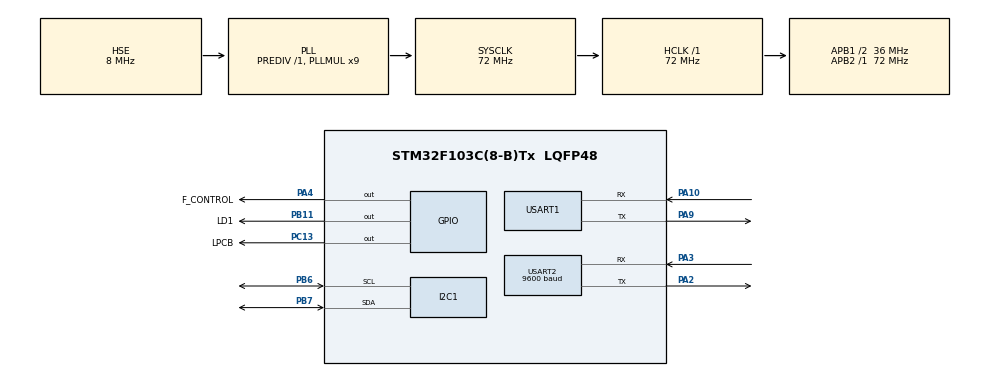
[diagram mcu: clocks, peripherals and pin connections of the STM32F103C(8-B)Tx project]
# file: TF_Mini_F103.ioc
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Mcu.Family=STM32F1
Mcu.Name=STM32F103C(8-B)Tx
Mcu.Package=LQFP48
NVIC.PriorityGroup=NVIC_PRIORITYGROUP_4
NVIC.TIM3_IRQn=true\:0\:0\:false\:false\:true\:true\:true\:true
NVIC.USART1_IRQn=true\:1\:0\:true\:false\:true\:true\:true\:true
NVIC.USART2_IRQn=true\:0\:0\:false\:false\:true\:true\:true\:true
PA10.Mode=Asynchronous
PA10.Signal=USART1_RX
PA13.Mode=Serial_Wire
PA13.Signal=SYS_JTMS-SWDIO
PA14.Mode=Serial_Wire
PA14.Signal=SYS_JTCK-SWCLK
PA2.Mode=Asynchronous
PA2.Signal=USART2_TX
PA3.Mode=Asynchronous
PA3.Signal=USART2_RX
PA4.GPIO_Label=F_CONTROL
PA4.Signal=GPIO_Output
PA9.Mode=Asynchronous
PA9.Signal=USART1_TX
PB11.GPIO_Label=LD1
PB11.GPIO_ModeDefaultOutputPP=GPIO_MODE_OUTPUT_OD
PB11.GPIO_PuPd=GPIO_NOPULL
PB11.GPIO_Speed=GPIO_SPEED_FREQ_HIGH
PB11.PinState=GPIO_PIN_RESET
PB11.Signal=GPIO_Output
PB6.Mode=I2C
PB6.Signal=I2C1_SCL
PB7.Mode=I2C
PB7.Signal=I2C1_SDA
PC13-TAMPER-RTC.GPIO_Label=LPCB
PC13-TAMPER-RTC.GPIO_ModeDefaultOutputPP=GPIO_MODE_OUTPUT_OD
PC13-TAMPER-RTC.GPIO_PuPd=GPIO_NOPULL
PC13-TAMPER-RTC.GPIO_Speed=GPIO_SPEED_FREQ_HIGH
PC13-TAMPER-RTC.Signal=GPIO_Output
PD0-OSC_IN.Mode=HSE-External-Oscillator
PD0-OSC_IN.Signal=RCC_OSC_IN
PD1-OSC_OUT.Mode=HSE-External-Oscillator
PD1-OSC_OUT.Signal=RCC_OSC_OUT
ProjectManager.HeapSize=0x200
ProjectManager.StackSize=0x400
ProjectManager.TargetToolchain=STM32CubeIDE
RCC.AHBFreq_Value=72000000
RCC.APB1CLKDivider=RCC_HCLK_DIV2
RCC.APB1Freq_Value=36000000
RCC.APB1TimFreq_Value=72000000
RCC.APB2Freq_Value=72000000
RCC.APB2TimFreq_Value=72000000
RCC.HCLKFreq_Value=72000000
RCC.PLLMUL=RCC_PLL_MUL9
RCC.PLLSourceVirtual=RCC_PLLSOURCE_HSE
RCC.SYSCLKFreq_VALUE=72000000
RCC.SYSCLKSource=RCC_SYSCLKSOURCE_PLLCLK
RCC.USBFreq_Value=72000000
TIM3.Period=249
TIM3.Prescaler=287
USART1.VirtualMode=VM_ASYNC
USART2.BaudRate=9600
USART2.VirtualMode=VM_ASYNC
VP_TIM3_VS_ClockSourceINT.Mode=Internal
board=custom

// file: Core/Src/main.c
/* USER CODE BEGIN Header */
/**
 ******************************************************************************
 * @file           : main.c
 * @brief          : Main program body
 ******************************************************************************
 * @attention
 *
 * Copyright (c) 2024 STMicroelectronics.
 * All rights reserved.
 *
 * This software is licensed under terms that can be found in the LICENSE file
 * in the root directory of this software component.
 * If no LICENSE file comes with this software, it is provided AS-IS.
 *
 ******************************************************************************
 */
/* USER CODE END Header */
#include "main.h"

I2C_HandleTypeDef hi2c1;

TIM_HandleTypeDef htim3;

UART_HandleTypeDef huart1;
UART_HandleTypeDef huart2;

/* USER CODE BEGIN PV */
char lidar_rx_buff[9] = {0};
char RS485_rx_buff[9] = {0};
char buff[] = "00.00 cm";
uint8_t cmd[] = {0x5A, 0x05, 0x07, 0x01, 0x67}; // Comando exemplo (substitua pelo comando correto)
uint8_t rcv_byte,
/*----*/rcv_byte1,
/*----*/flag_pacote_completo,
/*----*/flag_pacote_completo1,
/*----*/auxbuff1,
/*----*/init_rcv,
/*----*/auxbuff = 0;
uint16_t altura_sensor,
/*-----*/cont[8]= {0};
/* USER CODE END PV */

void SystemClock_Config(void);
static void MX_GPIO_Init(void);
static void MX_I2C1_Init(void);
static void MX_TIM3_Init(void);
static void MX_USART1_UART_Init(void);
static void MX_USART2_UART_Init(void);
/* USER CODE BEGIN PFP */
uint8_t leitura_buffer(void);
void trata_uart_tfmini(void);
void trata_string(void);
void transmite_tfmini(void);
void trata_uart_rs485(void);
/* USER CODE END PFP */

/* USER CODE BEGIN 0 */
void HAL_UART_RxCpltCallback(UART_HandleTypeDef *huart){
	if(huart->Instance == USART2) {	/*USART 2 RS485*/
		if(rcv_byte1 == '[')
			init_rcv = 1;
		if(init_rcv){
			RS485_rx_buff[auxbuff] = rcv_byte1;
			auxbuff++;
		}
		if(rcv_byte == ']'){
			flag_pacote_completo1 = 1;
			auxbuff = 0;
		}
		HAL_UART_Receive_IT(&huart2, (uint8_t*)&rcv_byte1, sizeof(rcv_byte1));	/*RECEBE UM BYTE*/
	}
	else if(huart->Instance == USART1) {	/*USART 1 SENSOR LIDAR TFMINI PLUS*/
		lidar_rx_buff[auxbuff] = rcv_byte;
		auxbuff++;
		if(auxbuff>=9){
			flag_pacote_completo = 1;
			auxbuff = 0;
		}
		else
			HAL_UART_Receive_IT(&huart1, (uint8_t*)&rcv_byte, sizeof(rcv_byte));	/*RECEBE UM BYTE*/
	}
}
void HAL_TIM_PeriodElapsedCallback (TIM_HandleTypeDef * htim){//ENDEREÇO DE HTIM COMO PARAMETRO
	if(htim->Instance == TIM3){ 	//IRA LER O MEMBRO DA ESTRUTURA APONTADO PELO PONTEIRO PASSADO COMO ARGUMENTO (*htim/nome da estrutura) DA FUNC CALL BACK
		cont[0]++;							/*FUNÇÃO DE TRATAMENTO DE INTERRUPÇÃO POR OVERFLOW TIMER3*/ /*Instance É A FLAG QUE INDICA QUAL TIMER GEROU A INTERRUPÇÃO*/
		if(cont[0]>=250){
			HAL_GPIO_TogglePin(LPCB_GPIO_Port, LPCB_Pin);
			cont[0] = 0;
		}
	}
}
uint8_t leitura_buffer(void){	/*LE O CONTEUDO VINDO DA UART E FAZ A CONVERSÃO JUNTANDO A PARTE ALTA E BAIXA DO VALOR*/
	for(int i = 0; i<7; i++){
		if(lidar_rx_buff[i] == 0x59 && lidar_rx_buff[i+1] == 0x59){
			altura_sensor = (lidar_rx_buff[i+3] << 8) | lidar_rx_buff[i+2];
			return 0;
		}
	}
	return 1;
}
void trata_uart_tfmini(void){	/*TRATA O PACOTE RECEBIDO NA UART 3 ENVIADO PELO SENSOR*/
	leitura_buffer();
	flag_pacote_completo = 0;
}
/*SER�? IMPLEMENTADO DEPOIS*/
void trata_string(void){
	char altura[6] = {0};
	sprintf(altura,"%04d",altura_sensor);
}
void transmite_tfmini(void){	/*TRATA A STRING E TRANSMITE VIA RF*/
	char buff1[12] = "0000 cm\n";
	sprintf(buff1, "[G,RX,%04d]", altura_sensor);
	HAL_GPIO_WritePin(F_CONTROL_GPIO_Port, F_CONTROL_Pin, GPIO_PIN_SET);		/*SETA O DISPOSITIVO PARA TRANSMISSÃO*/
	HAL_UART_Transmit(&huart2, (uint8_t*)buff1, sizeof(buff1), 0xFF);
	HAL_GPIO_WritePin(F_CONTROL_GPIO_Port, F_CONTROL_Pin, GPIO_PIN_RESET);		/*SETA O DISPOSITIVO PARA RECEBIMENTO*/
}
void trata_uart_rs485(void){
	char temp[] = "ERROR";
	if(RS485_rx_buff[1] == 'g' && RS485_rx_buff[3] == 'T'){
		flag_pacote_completo1 = 0;
		init_rcv = 0;
		transmite_tfmini();
	}
	else{
		flag_pacote_completo1 = 0;
		init_rcv = 0;
		HAL_GPIO_WritePin(F_CONTROL_GPIO_Port, F_CONTROL_Pin, GPIO_PIN_SET);		/*SETA O DISPOSITIVO PARA TRANSMISSÃO*/
		HAL_UART_Transmit(&huart2, (uint8_t*)temp, sizeof(temp), 0xFF);
		HAL_GPIO_WritePin(F_CONTROL_GPIO_Port, F_CONTROL_Pin, GPIO_PIN_RESET);		/*SETA O DISPOSITIVO PARA RECEBIMENTO*/
	}
	HAL_UART_Receive_IT(&huart2, (uint8_t*)&rcv_byte1, sizeof(rcv_byte1));	/*RECEBE UM BYTE*/
}
/* USER CODE END 0 */

int main(void)
{

	/* MCU Configuration--------------------------------------------------------*/

	/* Reset of all peripherals, Initializes the Flash interface and the Systick. */
	HAL_Init();

	/* Configure the system clock */
	SystemClock_Config();

	/* Initialize all configured peripherals */
	MX_GPIO_Init();
	MX_I2C1_Init();
	MX_TIM3_Init();
	MX_USART1_UART_Init();
	MX_USART2_UART_Init();
	/* USER CODE BEGIN 2 */
	HAL_TIM_Base_Start_IT(&htim3); //INCIA TIMER3 COM INTERRUPÇÃO NO OVERFLOW
	HAL_GPIO_WritePin(F_CONTROL_GPIO_Port, F_CONTROL_Pin, GPIO_PIN_RESET);		/*SETA O DISPOSITIVO PARA RECEBIMENTO*/
	HAL_UART_Receive_IT(&huart1, (uint8_t*)&rcv_byte, 1);
	HAL_UART_Receive_IT(&huart2, (uint8_t*)&rcv_byte1, 1);
	transmite_tfmini();
	/* USER CODE END 2 */

	/* Infinite loop */
	while (1)
	{

		/* USER CODE BEGIN 3 */
		if(flag_pacote_completo1){
			trata_uart_rs485();
		}
		if(flag_pacote_completo){
			trata_uart_tfmini();
			HAL_UART_Receive_IT(&huart1, (uint8_t*)&rcv_byte, sizeof(rcv_byte));/*TRIGGER PARA RECEBER NOVAMENTE SENSOR LIDAR*/
		}
		HAL_Delay(100);
		transmite_tfmini();
	}
	/* USER CODE END 3 */
}

void SystemClock_Config(void)
{
	RCC_OscInitTypeDef RCC_OscInitStruct = {0};
	RCC_ClkInitTypeDef RCC_ClkInitStruct = {0};

	/** Initializes the RCC Oscillators according to the specified parameters
	 * in the RCC_OscInitTypeDef structure.
	 */
	RCC_OscInitStruct.OscillatorType = RCC_OSCILLATORTYPE_HSE;
	RCC_OscInitStruct.HSEState = RCC_HSE_ON;
	RCC_OscInitStruct.HSEPredivValue = RCC_HSE_PREDIV_DIV1;
	RCC_OscInitStruct.HSIState = RCC_HSI_ON;
	RCC_OscInitStruct.PLL.PLLState = RCC_PLL_ON;
	RCC_OscInitStruct.PLL.PLLSource = RCC_PLLSOURCE_HSE;
	RCC_OscInitStruct.PLL.PLLMUL = RCC_PLL_MUL9;
	if (HAL_RCC_OscConfig(&RCC_OscInitStruct) != HAL_OK)
	{
		Error_Handler();
	}

	/** Initializes the CPU, AHB and APB buses clocks
	 */
	RCC_ClkInitStruct.ClockType = RCC_CLOCKTYPE_HCLK|RCC_CLOCKTYPE_SYSCLK
			|RCC_CLOCKTYPE_PCLK1|RCC_CLOCKTYPE_PCLK2;
	RCC_ClkInitStruct.SYSCLKSource = RCC_SYSCLKSOURCE_PLLCLK;
	RCC_ClkInitStruct.AHBCLKDivider = RCC_SYSCLK_DIV1;
	RCC_ClkInitStruct.APB1CLKDivider = RCC_HCLK_DIV2;
	RCC_ClkInitStruct.APB2CLKDivider = RCC_HCLK_DIV1;

	if (HAL_RCC_ClockConfig(&RCC_ClkInitStruct, FLASH_LATENCY_2) != HAL_OK)
	{
		Error_Handler();
	}
}

static void MX_I2C1_Init(void)
{

	hi2c1.Instance = I2C1;
	hi2c1.Init.ClockSpeed = 100000;
	hi2c1.Init.DutyCycle = I2C_DUTYCYCLE_2;
	hi2c1.Init.OwnAddress1 = 0;
	hi2c1.Init.AddressingMode = I2C_ADDRESSINGMODE_7BIT;
	hi2c1.Init.DualAddressMode = I2C_DUALADDRESS_DISABLE;
	hi2c1.Init.OwnAddress2 = 0;
	hi2c1.Init.GeneralCallMode = I2C_GENERALCALL_DISABLE;
	hi2c1.Init.NoStretchMode = I2C_NOSTRETCH_DISABLE;
	if (HAL_I2C_Init(&hi2c1) != HAL_OK)
	{
		Error_Handler();
	}

}

static void MX_TIM3_Init(void)
{

	TIM_ClockConfigTypeDef sClockSourceConfig = {0};
	TIM_MasterConfigTypeDef sMasterConfig = {0};

	htim3.Instance = TIM3;
	htim3.Init.Prescaler = 287;
	htim3.Init.CounterMode = TIM_COUNTERMODE_UP;
	htim3.Init.Period = 249;
	htim3.Init.ClockDivision = TIM_CLOCKDIVISION_DIV1;
	htim3.Init.AutoReloadPreload = TIM_AUTORELOAD_PRELOAD_DISABLE;
	if (HAL_TIM_Base_Init(&htim3) != HAL_OK)
	{
		Error_Handler();
	}
	sClockSourceConfig.ClockSource = TIM_CLOCKSOURCE_INTERNAL;
	if (HAL_TIM_ConfigClockSource(&htim3, &sClockSourceConfig) != HAL_OK)
	{
		Error_Handler();
	}
	sMasterConfig.MasterOutputTrigger = TIM_TRGO_RESET;
	sMasterConfig.MasterSlaveMode = TIM_MASTERSLAVEMODE_DISABLE;
	if (HAL_TIMEx_MasterConfigSynchronization(&htim3, &sMasterConfig) != HAL_OK)
	{
		Error_Handler();
	}

}

static void MX_USART1_UART_Init(void)
{

	huart1.Instance = USART1;
	huart1.Init.BaudRate = 115200;
	huart1.Init.WordLength = UART_WORDLENGTH_8B;
	huart1.Init.StopBits = UART_STOPBITS_1;
	huart1.Init.Parity = UART_PARITY_NONE;
	huart1.Init.Mode = UART_MODE_TX_RX;
	huart1.Init.HwFlowCtl = UART_HWCONTROL_NONE;
	huart1.Init.OverSampling = UART_OVERSAMPLING_16;
	if (HAL_UART_Init(&huart1) != HAL_OK)
	{
		Error_Handler();
	}

}

static void MX_USART2_UART_Init(void)
{

	huart2.Instance = USART2;
	huart2.Init.BaudRate = 9600;
	huart2.Init.WordLength = UART_WORDLENGTH_8B;
	huart2.Init.StopBits = UART_STOPBITS_1;
	huart2.Init.Parity = UART_PARITY_NONE;
	huart2.Init.Mode = UART_MODE_TX_RX;
	huart2.Init.HwFlowCtl = UART_HWCONTROL_NONE;
	huart2.Init.OverSampling = UART_OVERSAMPLING_16;
	if (HAL_UART_Init(&huart2) != HAL_OK)
	{
		Error_Handler();
	}

}

static void MX_GPIO_Init(void)
{
	GPIO_InitTypeDef GPIO_InitStruct = {0};

	/* GPIO Ports Clock Enable */
	__HAL_RCC_GPIOC_CLK_ENABLE();
	__HAL_RCC_GPIOD_CLK_ENABLE();
	__HAL_RCC_GPIOA_CLK_ENABLE();
	__HAL_RCC_GPIOB_CLK_ENABLE();

	/*Configure GPIO pin Output Level */
	HAL_GPIO_WritePin(LPCB_GPIO_Port, LPCB_Pin, GPIO_PIN_RESET);

	/*Configure GPIO pin Output Level */
	HAL_GPIO_WritePin(F_CONTROL_GPIO_Port, F_CONTROL_Pin, GPIO_PIN_RESET);

	/*Configure GPIO pin Output Level */
	HAL_GPIO_WritePin(LD1_GPIO_Port, LD1_Pin, GPIO_PIN_RESET);

	/*Configure GPIO pin : LPCB_Pin */
	GPIO_InitStruct.Pin = LPCB_Pin;
	GPIO_InitStruct.Mode = GPIO_MODE_OUTPUT_OD;
	GPIO_InitStruct.Pull = GPIO_NOPULL;
	GPIO_InitStruct.Speed = GPIO_SPEED_FREQ_HIGH;
	HAL_GPIO_Init(LPCB_GPIO_Port, &GPIO_InitStruct);

	/*Configure GPIO pin : F_CONTROL_Pin */
	GPIO_InitStruct.Pin = F_CONTROL_Pin;
	GPIO_InitStruct.Mode = GPIO_MODE_OUTPUT_PP;
	GPIO_InitStruct.Pull = GPIO_NOPULL;
	GPIO_InitStruct.Speed = GPIO_SPEED_FREQ_LOW;
	HAL_GPIO_Init(F_CONTROL_GPIO_Port, &GPIO_InitStruct);

	/*Configure GPIO pin : LD1_Pin */
	GPIO_InitStruct.Pin = LD1_Pin;
	GPIO_InitStruct.Mode = GPIO_MODE_OUTPUT_OD;
	GPIO_InitStruct.Pull = GPIO_NOPULL;
	GPIO_InitStruct.Speed = GPIO_SPEED_FREQ_HIGH;
	HAL_GPIO_Init(LD1_GPIO_Port, &GPIO_InitStruct);

}

void Error_Handler(void)
{
	__disable_irq();
	while (1)
	{
	}
}
